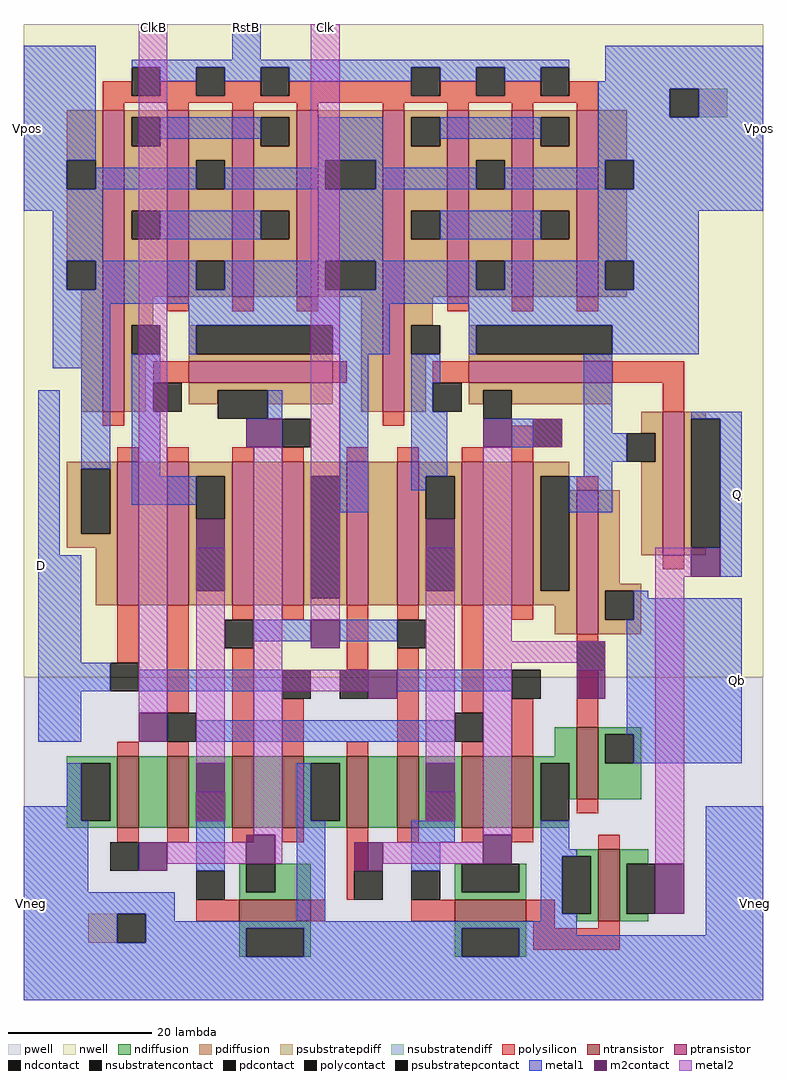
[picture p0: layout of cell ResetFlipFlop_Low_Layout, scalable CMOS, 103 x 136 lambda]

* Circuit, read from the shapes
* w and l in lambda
.subckt ResetFlipFlop_Low_Layout Clk ClkB D Q Qb RstB Vneg Vpos
M1 n1 n2 Vneg Vneg nfet w=10 l=3
M2 n3 ClkB n1 Vneg nfet w=10 l=3
M3 n4 Clk n3 Vneg nfet w=10 l=3
M4 n2 n3 Vneg Vneg nfet w=10 l=3
M5 Vneg D n4 Vneg nfet w=10 l=3
M6 n5 n6 Vneg Vneg nfet w=10 l=3
M7 n7 Clk n5 Vneg nfet w=10 l=3
M8 n6 n7 Vneg Vneg nfet w=10 l=3
M9 n8 ClkB n7 Vneg nfet w=10 l=3
M10 Vneg n2 n8 Vneg nfet w=10 l=3
M11 Qb n6 Vneg Vneg nfet w=10 l=3
M12 Q n7 Vneg Vneg nfet w=10 l=3
M13 n3 RstB Vpos Vpos pfet w=42 l=3
M14 n9 D Vpos Vpos pfet w=20 l=3
M15 n3 ClkB n9 Vpos pfet w=20 l=3
M16 Vpos RstB n3 Vpos pfet w=26 l=3 m=3
M17 Vpos n3 n2 Vpos pfet w=20 l=3
M18 n10 Clk n3 Vpos pfet w=20 l=3
M19 Vpos n2 n10 Vpos pfet w=20 l=3
M20 n11 n2 Vpos Vpos pfet w=20 l=3
M21 n7 RstB Vpos Vpos pfet w=42 l=3
M22 n7 Clk n11 Vpos pfet w=20 l=3
M23 Vpos RstB n7 Vpos pfet w=26 l=3 m=3
M24 n12 ClkB n7 Vpos pfet w=20 l=3
M25 Vpos n7 n6 Vpos pfet w=20 l=3
M26 Vpos n6 n12 Vpos pfet w=20 l=3
M27 Qb n6 Vpos Vpos pfet w=20 l=3
M28 Q n7 Vpos Vpos pfet w=20 l=3
.ends

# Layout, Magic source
magic
tech scmos
<< nwell >>
rect 213 -299 316 -208
<< pwell >>
rect 213 -344 316 -299
<< ntransistor >>
rect 226 -320 229 -310
rect 233 -320 236 -310
rect 242 -320 245 -310
rect 249 -320 252 -310
rect 258 -320 261 -310
rect 265 -320 268 -310
rect 274 -320 277 -310
rect 281 -320 284 -310
rect 290 -316 293 -306
rect 243 -333 253 -330
rect 273 -333 283 -330
rect 293 -333 296 -323
<< ptransistor >>
rect 224 -262 227 -220
rect 233 -246 236 -220
rect 242 -246 245 -220
rect 251 -246 254 -220
rect 236 -258 256 -255
rect 263 -262 266 -220
rect 272 -246 275 -220
rect 281 -246 284 -220
rect 290 -246 293 -220
rect 275 -258 295 -255
rect 226 -289 229 -269
rect 233 -289 236 -269
rect 242 -289 245 -269
rect 249 -289 252 -269
rect 258 -289 261 -269
rect 265 -289 268 -269
rect 274 -289 277 -269
rect 281 -289 284 -269
rect 290 -293 293 -273
rect 302 -282 305 -262
<< ndiffusion >>
rect 287 -310 290 -306
rect 219 -311 226 -310
rect 219 -319 221 -311
rect 225 -319 226 -311
rect 219 -320 226 -319
rect 229 -320 233 -310
rect 236 -315 242 -310
rect 236 -319 237 -315
rect 241 -319 242 -315
rect 236 -320 242 -319
rect 245 -320 249 -310
rect 252 -311 258 -310
rect 252 -319 253 -311
rect 257 -319 258 -311
rect 252 -320 258 -319
rect 261 -320 265 -310
rect 268 -315 274 -310
rect 268 -319 269 -315
rect 273 -319 274 -315
rect 268 -320 274 -319
rect 277 -320 281 -310
rect 284 -311 290 -310
rect 284 -319 285 -311
rect 289 -316 290 -311
rect 293 -307 299 -306
rect 293 -311 294 -307
rect 298 -311 299 -307
rect 293 -316 299 -311
rect 284 -320 289 -319
rect 243 -329 244 -325
rect 248 -329 253 -325
rect 243 -330 253 -329
rect 290 -324 293 -323
rect 273 -329 274 -325
rect 282 -329 283 -325
rect 273 -330 283 -329
rect 292 -332 293 -324
rect 290 -333 293 -332
rect 296 -325 300 -323
rect 296 -332 297 -325
rect 296 -333 300 -332
rect 243 -334 253 -333
rect 243 -338 244 -334
rect 252 -338 253 -334
rect 273 -334 283 -333
rect 273 -338 274 -334
rect 282 -338 283 -334
<< pdiffusion >>
rect 219 -227 224 -220
rect 223 -231 224 -227
rect 219 -241 224 -231
rect 223 -245 224 -241
rect 221 -262 224 -245
rect 227 -221 233 -220
rect 227 -225 228 -221
rect 232 -225 233 -221
rect 227 -234 233 -225
rect 227 -238 228 -234
rect 232 -238 233 -234
rect 227 -246 233 -238
rect 236 -227 242 -220
rect 236 -231 237 -227
rect 241 -231 242 -227
rect 236 -241 242 -231
rect 236 -245 237 -241
rect 241 -245 242 -241
rect 236 -246 242 -245
rect 245 -221 251 -220
rect 245 -225 246 -221
rect 250 -225 251 -221
rect 245 -234 251 -225
rect 245 -238 246 -234
rect 250 -238 251 -234
rect 245 -246 251 -238
rect 254 -227 263 -220
rect 254 -231 255 -227
rect 262 -231 263 -227
rect 254 -241 263 -231
rect 254 -245 255 -241
rect 262 -245 263 -241
rect 254 -246 263 -245
rect 227 -250 231 -246
rect 227 -254 228 -250
rect 236 -254 237 -250
rect 227 -262 230 -254
rect 236 -255 256 -254
rect 236 -259 256 -258
rect 236 -261 240 -259
rect 247 -261 256 -259
rect 260 -262 263 -246
rect 266 -221 272 -220
rect 266 -225 267 -221
rect 271 -225 272 -221
rect 266 -234 272 -225
rect 266 -238 267 -234
rect 271 -238 272 -234
rect 266 -246 272 -238
rect 275 -227 281 -220
rect 275 -231 276 -227
rect 280 -231 281 -227
rect 275 -241 281 -231
rect 275 -245 276 -241
rect 280 -245 281 -241
rect 275 -246 281 -245
rect 284 -221 290 -220
rect 284 -225 285 -221
rect 289 -225 290 -221
rect 284 -234 290 -225
rect 284 -238 285 -234
rect 289 -238 290 -234
rect 284 -246 290 -238
rect 293 -227 297 -220
rect 293 -231 294 -227
rect 293 -241 297 -231
rect 293 -245 294 -241
rect 293 -246 297 -245
rect 266 -250 270 -246
rect 266 -254 267 -250
rect 275 -254 276 -250
rect 266 -262 269 -254
rect 275 -255 295 -254
rect 275 -259 295 -258
rect 275 -261 277 -259
rect 281 -261 295 -259
rect 299 -265 302 -262
rect 301 -269 302 -265
rect 219 -270 226 -269
rect 219 -279 221 -270
rect 225 -279 226 -270
rect 219 -281 226 -279
rect 223 -289 226 -281
rect 229 -289 233 -269
rect 236 -271 242 -269
rect 236 -277 237 -271
rect 241 -277 242 -271
rect 236 -281 242 -277
rect 236 -287 237 -281
rect 241 -287 242 -281
rect 236 -289 242 -287
rect 245 -289 249 -269
rect 252 -271 258 -269
rect 252 -288 253 -271
rect 257 -288 258 -271
rect 252 -289 258 -288
rect 261 -289 265 -269
rect 268 -271 274 -269
rect 268 -277 269 -271
rect 273 -277 274 -271
rect 268 -281 274 -277
rect 268 -287 269 -281
rect 273 -287 274 -281
rect 268 -289 274 -287
rect 277 -289 281 -269
rect 284 -271 289 -269
rect 284 -287 285 -271
rect 289 -287 290 -273
rect 284 -289 290 -287
rect 287 -293 290 -289
rect 293 -286 296 -273
rect 299 -282 302 -269
rect 305 -263 308 -262
rect 305 -281 306 -263
rect 305 -282 308 -281
rect 293 -287 299 -286
rect 293 -291 294 -287
rect 298 -291 299 -287
rect 293 -293 299 -291
<< ndcontact >>
rect 221 -319 225 -311
rect 237 -319 241 -315
rect 253 -319 257 -311
rect 269 -319 273 -315
rect 285 -319 289 -311
rect 294 -311 298 -307
rect 244 -329 248 -325
rect 274 -329 282 -325
rect 288 -332 292 -324
rect 297 -332 301 -325
rect 244 -338 252 -334
rect 274 -338 282 -334
<< pdcontact >>
rect 219 -231 223 -227
rect 219 -245 223 -241
rect 228 -225 232 -221
rect 228 -238 232 -234
rect 237 -231 241 -227
rect 237 -245 241 -241
rect 246 -225 250 -221
rect 246 -238 250 -234
rect 255 -231 262 -227
rect 255 -245 262 -241
rect 228 -254 232 -250
rect 237 -254 256 -250
rect 240 -263 247 -259
rect 267 -225 271 -221
rect 267 -238 271 -234
rect 276 -231 280 -227
rect 276 -245 280 -241
rect 285 -225 289 -221
rect 285 -238 289 -234
rect 294 -231 298 -227
rect 294 -245 298 -241
rect 267 -254 271 -250
rect 276 -254 295 -250
rect 277 -263 281 -259
rect 297 -269 301 -265
rect 221 -279 225 -270
rect 237 -277 241 -271
rect 237 -287 241 -281
rect 253 -288 257 -271
rect 269 -277 273 -271
rect 269 -287 273 -281
rect 285 -287 289 -271
rect 306 -281 310 -263
rect 294 -291 298 -287
<< psubstratepdiff >>
rect 222 -336 226 -332
<< nsubstratendiff >>
rect 307 -221 311 -217
<< psubstratepcontact >>
rect 226 -336 230 -332
<< nsubstratencontact >>
rect 303 -221 307 -217
<< polysilicon >>
rect 224 -218 228 -216
rect 232 -218 237 -216
rect 241 -218 246 -216
rect 250 -218 267 -216
rect 271 -218 276 -216
rect 280 -218 285 -216
rect 289 -218 293 -216
rect 224 -219 293 -218
rect 224 -220 227 -219
rect 233 -220 236 -219
rect 242 -220 245 -219
rect 251 -220 254 -219
rect 263 -220 266 -219
rect 272 -220 275 -219
rect 281 -220 284 -219
rect 290 -220 293 -219
rect 233 -248 236 -246
rect 242 -248 245 -246
rect 251 -248 254 -246
rect 231 -258 236 -255
rect 256 -258 258 -255
rect 224 -264 227 -262
rect 272 -248 275 -246
rect 281 -248 284 -246
rect 290 -248 293 -246
rect 270 -258 275 -255
rect 295 -258 305 -255
rect 263 -264 266 -262
rect 302 -262 305 -258
rect 226 -269 229 -267
rect 233 -269 236 -267
rect 242 -269 245 -267
rect 249 -269 252 -267
rect 258 -269 261 -267
rect 265 -269 268 -267
rect 274 -269 277 -267
rect 281 -269 284 -264
rect 290 -273 293 -271
rect 226 -297 229 -289
rect 233 -304 236 -289
rect 242 -291 245 -289
rect 249 -291 252 -289
rect 226 -310 229 -308
rect 233 -310 236 -308
rect 242 -310 245 -295
rect 258 -298 261 -289
rect 265 -291 268 -289
rect 249 -310 252 -302
rect 258 -310 261 -308
rect 265 -310 268 -295
rect 274 -304 277 -289
rect 281 -291 284 -289
rect 302 -284 305 -282
rect 290 -294 293 -293
rect 274 -310 277 -308
rect 281 -310 284 -302
rect 290 -306 293 -298
rect 290 -318 293 -316
rect 226 -322 229 -320
rect 233 -322 236 -320
rect 242 -322 245 -320
rect 249 -322 252 -320
rect 258 -326 261 -320
rect 265 -322 268 -320
rect 274 -322 277 -320
rect 281 -322 284 -320
rect 293 -323 296 -321
rect 258 -330 259 -326
rect 237 -333 243 -330
rect 253 -333 255 -330
rect 267 -333 273 -330
rect 283 -333 287 -330
rect 284 -334 287 -333
rect 293 -334 296 -333
rect 284 -337 296 -334
<< polycontact >>
rect 228 -218 232 -214
rect 237 -218 241 -214
rect 246 -218 250 -214
rect 267 -218 271 -214
rect 276 -218 280 -214
rect 285 -218 289 -214
rect 231 -262 235 -258
rect 270 -262 274 -258
rect 249 -267 253 -263
rect 284 -267 288 -263
rect 225 -301 229 -297
rect 241 -295 245 -291
rect 233 -308 237 -304
rect 249 -302 253 -298
rect 257 -302 261 -298
rect 265 -295 269 -291
rect 290 -298 294 -294
rect 273 -308 277 -304
rect 281 -302 285 -298
rect 225 -326 229 -322
rect 237 -330 241 -326
rect 259 -330 263 -326
rect 267 -330 271 -326
<< metal1 >>
rect 213 -227 223 -211
rect 242 -213 246 -208
rect 228 -214 289 -213
rect 232 -216 237 -214
rect 241 -216 246 -214
rect 250 -216 267 -214
rect 271 -216 276 -214
rect 280 -216 285 -214
rect 294 -216 316 -211
rect 293 -217 316 -216
rect 293 -221 303 -217
rect 307 -221 316 -217
rect 232 -224 246 -221
rect 254 -227 263 -221
rect 271 -224 285 -221
rect 293 -227 316 -221
rect 213 -231 219 -227
rect 223 -231 237 -228
rect 254 -228 255 -227
rect 241 -231 255 -228
rect 262 -228 263 -227
rect 262 -231 276 -228
rect 293 -228 294 -227
rect 280 -231 294 -228
rect 298 -231 316 -227
rect 213 -234 224 -231
rect 217 -241 224 -234
rect 232 -238 246 -234
rect 254 -241 263 -231
rect 293 -234 316 -231
rect 271 -238 285 -234
rect 293 -241 307 -234
rect 217 -245 219 -241
rect 223 -245 237 -241
rect 241 -245 255 -241
rect 262 -245 276 -241
rect 280 -245 294 -241
rect 298 -245 307 -241
rect 217 -247 307 -245
rect 217 -256 225 -247
rect 236 -250 264 -247
rect 275 -250 307 -247
rect 215 -282 218 -259
rect 221 -270 225 -256
rect 236 -254 237 -250
rect 256 -254 264 -250
rect 275 -254 276 -250
rect 295 -254 307 -250
rect 228 -258 232 -254
rect 228 -262 231 -258
rect 228 -271 232 -262
rect 247 -263 249 -259
rect 228 -275 237 -271
rect 215 -297 221 -282
rect 257 -276 261 -254
rect 267 -258 271 -254
rect 267 -262 270 -258
rect 267 -271 272 -262
rect 281 -267 284 -263
rect 291 -265 295 -254
rect 306 -263 313 -262
rect 291 -269 297 -265
rect 291 -271 295 -269
rect 267 -273 269 -271
rect 289 -276 295 -271
rect 310 -285 313 -263
rect 298 -288 300 -287
rect 298 -291 313 -288
rect 245 -294 253 -291
rect 257 -294 265 -291
rect 215 -301 225 -297
rect 229 -301 249 -298
rect 215 -308 221 -301
rect 265 -301 281 -298
rect 237 -308 273 -305
rect 297 -307 313 -291
rect 298 -311 313 -307
rect 219 -317 221 -311
rect 213 -319 221 -317
rect 213 -329 222 -319
rect 237 -326 241 -319
rect 251 -319 253 -311
rect 213 -332 234 -329
rect 213 -336 226 -332
rect 230 -333 234 -332
rect 251 -333 255 -319
rect 267 -322 273 -319
rect 267 -326 271 -322
rect 285 -323 289 -319
rect 285 -324 290 -323
rect 285 -332 288 -324
rect 285 -333 290 -332
rect 230 -334 290 -333
rect 230 -336 244 -334
rect 213 -338 244 -336
rect 252 -338 274 -334
rect 282 -335 290 -334
rect 308 -335 316 -317
rect 282 -338 316 -335
rect 213 -344 316 -338
<< m2contact >>
rect 244 -267 249 -263
rect 237 -281 241 -277
rect 277 -267 281 -263
rect 269 -281 273 -277
rect 306 -285 310 -281
rect 253 -295 257 -291
rect 261 -302 265 -298
rect 290 -302 294 -298
rect 229 -308 233 -304
rect 237 -315 241 -311
rect 229 -326 233 -322
rect 269 -315 273 -311
rect 244 -325 248 -321
rect 259 -326 263 -322
rect 277 -325 281 -321
rect 301 -332 305 -325
<< metal2 >>
rect 229 -304 233 -208
rect 237 -311 241 -281
rect 237 -319 241 -315
rect 245 -298 249 -267
rect 253 -291 257 -208
rect 284 -267 288 -263
rect 245 -301 261 -298
rect 245 -321 249 -301
rect 269 -311 273 -281
rect 269 -319 273 -315
rect 277 -294 281 -267
rect 301 -285 306 -281
rect 277 -297 294 -294
rect 233 -325 244 -322
rect 248 -325 249 -321
rect 277 -321 281 -297
rect 290 -298 294 -297
rect 263 -325 277 -322
rect 301 -325 305 -285
<< labels >>
rlabel metal1 314 -344 316 -317 1 Vneg
rlabel pwell 213 -344 215 -317 3 Vneg
rlabel metal1 315 -234 316 -211 1 Vpos
rlabel metal1 213 -234 214 -211 3 Vpos
rlabel metal1 312 -311 313 -288 1 Qb
rlabel metal1 312 -285 313 -262 1 Q
rlabel metal2 229 -209 233 -208 1 ClkB
rlabel metal2 253 -209 257 -208 1 Clk
rlabel metal1 242 -209 246 -208 1 RstB
rlabel metal1 215 -308 216 -259 3 D
<< end >>
